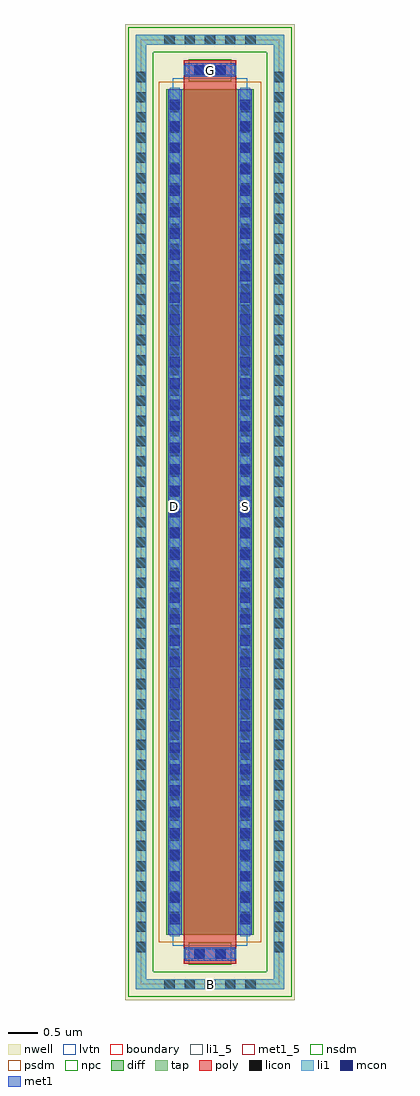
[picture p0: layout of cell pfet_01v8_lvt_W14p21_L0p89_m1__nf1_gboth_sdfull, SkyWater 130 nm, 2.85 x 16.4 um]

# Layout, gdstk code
import gdstk
lib = gdstk.Library(unit=1e-6, precision=1e-09)
def R(c, l, rs):  # rectangles x0, y0, x1, y1
    for r in rs: c.add(gdstk.rectangle(r[:2], r[2:], *l))
def A(c, l, x, y, w, h, nx, ny, dx, dy):  # array of equal rectangles
    R(c, l, [(x+i*dx, y+j*dy, x+i*dx+w, y+j*dy+h) for i in range(nx) for j in range(ny)])
nwell = (64, 20)
diff = (65, 20)
tap = (65, 44)
poly = (66, 20)
licon = (66, 44)
li1_5 = (67, 5)
li1 = (67, 20)
mcon = (67, 44)
met1_5 = (68, 5)
met1 = (68, 20)
nsdm = (93, 44)
psdm = (94, 20)
npc = (95, 20)
lvtn = (125, 44)
boundary = (235, 4)

sky130_fd_pr__pfet_01v8_ = lib.new_cell('sky130_fd_pr__pfet_01v8_lvt_83U5RX')
R(sky130_fd_pr__pfet_01v8_, nwell, [(-1.425,-8.2,1.425,8.2)])
R(sky130_fd_pr__pfet_01v8_, diff, [(-0.735,-7.105,0.735,7.105)])
R(sky130_fd_pr__pfet_01v8_, tap, [(-1.245,-8.02,1.245,-7.85), (-1.245,-7.85,-1.075,7.85), (1.075,-7.85,1.245,7.85), (-1.245,7.85,1.245,8.02)])
R(sky130_fd_pr__pfet_01v8_, poly, [(-0.445,-7.59,0.445,7.59)])
A(sky130_fd_pr__pfet_01v8_, licon, -0.765, -8.02, 0.17, 0.17, 5, 2, 0.34, 15.87)
A(sky130_fd_pr__pfet_01v8_, licon, -1.245, -7.395, 0.17, 0.17, 1, 44, 0, 0.34)
A(sky130_fd_pr__pfet_01v8_, licon, 1.075, -7.395, 0.17, 0.17, 1, 44, 0, 0.34)
A(sky130_fd_pr__pfet_01v8_, licon, -0.675, -6.885, 0.17, 0.17, 1, 41, 0, 0.34)
A(sky130_fd_pr__pfet_01v8_, licon, 0.505, -6.885, 0.17, 0.17, 1, 41, 0, 0.34)
R(sky130_fd_pr__pfet_01v8_, licon, [(-0.255,-7.51,-0.085,-7.34), (0.085,-7.51,0.255,-7.34), (-0.255,7.34,-0.085,7.51), (0.085,7.34,0.255,7.51)])
R(sky130_fd_pr__pfet_01v8_, li1, [(-1.245,-8.02,1.245,-7.85), (-1.245,-7.85,-1.075,7.85), (1.075,-7.85,1.245,7.85), (-0.445,-7.51,0.445,-7.34), (-0.675,-7.125,-0.505,7.125), (0.505,-7.125,0.675,7.125), (-0.445,7.34,0.445,7.51), (-1.245,7.85,1.245,8.02)])
A(sky130_fd_pr__pfet_01v8_, mcon, -0.675, -6.925, 0.17, 0.17, 1, 39, 0, 0.36)
A(sky130_fd_pr__pfet_01v8_, mcon, 0.505, -6.925, 0.17, 0.17, 1, 39, 0, 0.36)
R(sky130_fd_pr__pfet_01v8_, mcon, [(-0.265,-7.51,-0.095,-7.34), (0.095,-7.51,0.265,-7.34), (-0.265,7.34,-0.095,7.51), (0.095,7.34,0.265,7.51)])
R(sky130_fd_pr__pfet_01v8_, met1, [(-0.425,-7.54,0.425,-7.31), (-0.705,-7.105,-0.475,7.105), (0.475,-7.105,0.705,7.105), (-0.425,7.31,0.425,7.54)])
R(sky130_fd_pr__pfet_01v8_, nsdm, [(-1.37,-8.145,1.37,-7.725), (-1.37,-7.725,-0.95,7.725), (0.95,-7.725,1.37,7.725), (-1.37,7.725,1.37,8.145)])
R(sky130_fd_pr__pfet_01v8_, psdm, [(-0.86,-7.23,0.86,7.23)])
R(sky130_fd_pr__pfet_01v8_, npc, [(-0.355,-7.61,0.355,-7.24), (-0.355,7.24,0.355,7.61)])
R(sky130_fd_pr__pfet_01v8_, lvtn, [(-0.625,-7.285,0.625,7.285)])
R(sky130_fd_pr__pfet_01v8_, boundary, [(-1.16,-7.935,1.16,7.935)])
sky130_fd_pr__pfet_01v8_.add(gdstk.Label('B', (0,-7.935), layer=67, texttype=5))
sky130_fd_pr__pfet_01v8_.add(gdstk.Label('D', (-0.59,0), layer=67, texttype=5))
sky130_fd_pr__pfet_01v8_.add(gdstk.Label('S', (0.59,0), layer=67, texttype=5))
sky130_fd_pr__pfet_01v8_.add(gdstk.Label('G', (0,7.425), layer=67, texttype=5))

pfet_01v8_lvt_w14p21_l0p = lib.new_cell('pfet_01v8_lvt_W14p21_L0p89_m1__nf1_gboth_sdfull')
R(pfet_01v8_lvt_w14p21_l0p, li1_5, [(1.075,-0.085,1.245,0.085)])
R(pfet_01v8_lvt_w14p21_l0p, li1, [(1.075,-0.085,1.245,0.085)])
R(pfet_01v8_lvt_w14p21_l0p, met1_5, [(0.455,7.935,0.685,8.135), (1.635,7.935,1.865,8.135), (0.735,15.245,1.585,15.475)])
R(pfet_01v8_lvt_w14p21_l0p, met1, [(0.455,7.935,0.685,8.135), (1.635,7.935,1.865,8.135), (0.735,15.245,1.585,15.475)])
pfet_01v8_lvt_w14p21_l0p.add(gdstk.Reference(sky130_fd_pr__pfet_01v8_, (1.16,7.935)))
pfet_01v8_lvt_w14p21_l0p.add(gdstk.Label('D', (0.57,8.035), layer=68, texttype=5))
pfet_01v8_lvt_w14p21_l0p.add(gdstk.Label('S', (1.75,8.035), layer=68, texttype=5))
pfet_01v8_lvt_w14p21_l0p.add(gdstk.Label('G', (1.16,15.36), layer=68, texttype=5))
pfet_01v8_lvt_w14p21_l0p.add(gdstk.Label('B', (1.16,0), layer=67, texttype=5))

lib.write_gds('pfet_01v8_lvt_W14p21_L0p89_m1__nf1_gboth_sdfull.gds')
